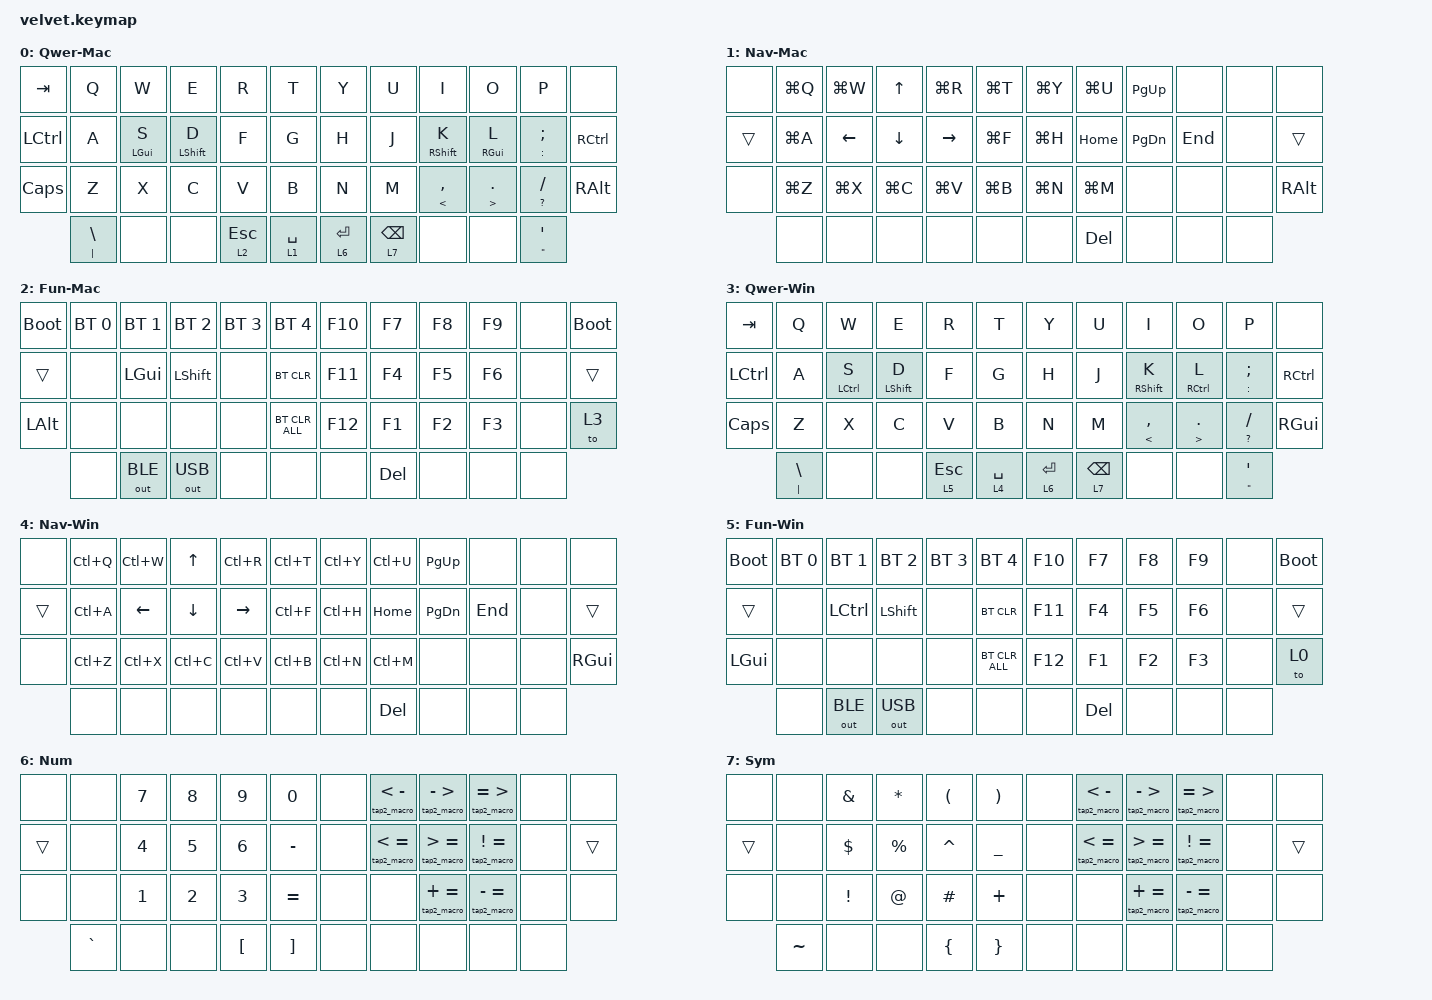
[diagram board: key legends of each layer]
/*
 * Copyright (c) 2020 The ZMK Contributors
 *
 * SPDX-License-Identifier: MIT
 */

#include <behaviors.dtsi>
#include <dt-bindings/zmk/bt.h>
#include <dt-bindings/zmk/keys.h>
#include <dt-bindings/zmk/outputs.h>

/ {
    behaviors {
        as: autoshift {
            compatible = "zmk,behavior-hold-tap";
            label = "AUTOSHIFT";
            bindings = <&kp>, <&kp>;

            #binding-cells = <2>;
            tapping-term-ms = <250>;
            quick-tap-ms = <175>;
            require-prior-idle-ms = <150>;
            flavor = "tap-preferred";
        };

        hml: homerow_mods_left {
            compatible = "zmk,behavior-hold-tap";
            label = "HOMEROW_MODS_LEFT";
            bindings = <&kp>, <&kp>;

            #binding-cells = <2>;
            tapping-term-ms = <250>;
            quick-tap-ms = <175>;
            require-prior-idle-ms = <110>;
            flavor = "balanced";
            hold-trigger-key-positions = <30 18 8 7 32 21 23 44 43 45 41 42 31 19 6 20 9 33 34 22 10 11 35 39 36 40>;
            hold-trigger-on-release;
        };

        hmr: homerow_mods_right {
            compatible = "zmk,behavior-hold-tap";
            label = "HOMEROW_MODS_RIGHT";
            bindings = <&kp>, <&kp>;

            #binding-cells = <2>;
            tapping-term-ms = <250>;
            quick-tap-ms = <175>;
            require-prior-idle-ms = <110>;
            flavor = "balanced";
            hold-trigger-on-release;
            hold-trigger-key-positions = <26 13 24 1 0 12 3 4 2 5 14 15 29 17 16 25 38 37 27 28 39 40 45 36 41 42>;
        };

        mol: mo_left {
            compatible = "zmk,behavior-hold-tap";
            label = "MO_LEFT";
            bindings = <&mo>, <&kp>;

            #binding-cells = <2>;
            tapping-term-ms = <250>;
            quick-tap-ms = <175>;
            require-prior-idle-ms = <110>;
            flavor = "balanced";
            hold-trigger-key-positions = <19 21 41 45 42 30 31 43 32 33 44 34 35 23 22 10 11 9 8 20 7 6 18>;
            hold-trigger-on-release;
        };

        mor: mo_right {
            compatible = "zmk,behavior-hold-tap";
            label = "MO_RIGHT";
            bindings = <&mo>, <&kp>;

            #binding-cells = <2>;
            tapping-term-ms = <250>;
            quick-tap-ms = <175>;
            require-prior-idle-ms = <110>;
            flavor = "balanced";
            hold-trigger-key-positions = <26 13 24 1 0 12 3 4 2 5 14 15 29 17 16 25 38 37 27 28 39 40 36>;
            hold-trigger-on-release;
        };
    };

    macros {
        tap2_macro: tap2_macro {
            compatible = "zmk,behavior-macro-two-param";
            #binding-cells = <2>;
            bindings =
                <&macro_param_1to1>,
                <&macro_tap>,
                <&kp MACRO_PLACEHOLDER &macro_param_2to1>,
                <&macro_tap>,
                <&kp MACRO_PLACEHOLDER>;

            label = "TAP2_MACRO";
        };
    };

    keymap {
        compatible = "zmk,keymap";

        Qwer-Mac {
            bindings = <
&kp TAB           &kp Q               &kp W            &kp E              &kp R       &kp T         &kp Y          &kp U             &kp I                &kp O                 &kp P                           &none
&kp LEFT_CONTROL  &kp A               &hml LEFT_GUI S  &hml LEFT_SHIFT D  &kp F       &kp G         &kp H          &kp J             &hmr RIGHT_SHIFT K   &hmr RIGHT_GUI L      &as COLON SEMI                  &kp RIGHT_CONTROL
&kp CAPSLOCK      &kp Z               &kp X            &kp C              &kp V       &kp B         &kp N          &kp M             &as LESS_THAN COMMA  &as GREATER_THAN DOT  &as QUESTION SLASH              &kp RIGHT_ALT
                  &as PIPE BACKSLASH  &none            &none              &mol 2 ESC  &mor 1 SPACE  &mor 6 RETURN  &mor 7 BACKSPACE  &none                &none                 &as DOUBLE_QUOTES SINGLE_QUOTE
            >;
        };

        Nav-Mac {
            bindings = <
&none   &kp LG(Q)  &kp LG(W)       &kp UP_ARROW    &kp LG(R)        &kp LG(T)  &kp LG(Y)  &kp LG(U)   &kp PAGE_UP    &none    &none  &none
&trans  &kp LG(A)  &kp LEFT_ARROW  &kp DOWN_ARROW  &kp RIGHT_ARROW  &kp LG(F)  &kp LG(H)  &kp HOME    &kp PAGE_DOWN  &kp END  &none  &trans
&none   &kp LG(Z)  &kp LG(X)       &kp LG(C)       &kp LG(V)        &kp LG(B)  &kp LG(N)  &kp LG(M)   &none          &none    &none  &kp RIGHT_ALT
        &none      &none           &none           &none            &none      &none      &kp DELETE  &none          &none    &none
            >;
        };

        Fun-Mac {
            bindings = <
&bootloader   &bt BT_SEL 0  &bt BT_SEL 1  &bt BT_SEL 2    &bt BT_SEL 3  &bt BT_SEL 4    &kp F10  &kp F7      &kp F8  &kp F9  &none  &bootloader
&trans        &none         &kp LEFT_GUI  &kp LEFT_SHIFT  &none         &bt BT_CLR      &kp F11  &kp F4      &kp F5  &kp F6  &none  &trans
&kp LEFT_ALT  &none         &none         &none           &none         &bt BT_CLR_ALL  &kp F12  &kp F1      &kp F2  &kp F3  &none  &to 3
              &none         &out OUT_BLE  &out OUT_USB    &none         &none           &none    &kp DELETE  &none   &none   &none
            >;
        };

        Qwer-Win {
            bindings = <
&kp TAB           &kp Q               &kp W                &kp E              &kp R       &kp T         &kp Y          &kp U             &kp I                &kp O                 &kp P                           &none
&kp LEFT_CONTROL  &kp A               &hml LEFT_CONTROL S  &hml LEFT_SHIFT D  &kp F       &kp G         &kp H          &kp J             &hmr RIGHT_SHIFT K   &hmr RIGHT_CONTROL L  &as COLON SEMI                  &kp RIGHT_CONTROL
&kp CAPSLOCK      &kp Z               &kp X                &kp C              &kp V       &kp B         &kp N          &kp M             &as LESS_THAN COMMA  &as GREATER_THAN DOT  &as QUESTION SLASH              &kp RIGHT_GUI
                  &as PIPE BACKSLASH  &none                &none              &mol 5 ESC  &mor 4 SPACE  &mor 6 RETURN  &mor 7 BACKSPACE  &none                &none                 &as DOUBLE_QUOTES SINGLE_QUOTE
            >;
        };

        Nav-Win {
            bindings = <
&none   &kp LC(Q)  &kp LC(W)       &kp UP_ARROW    &kp LC(R)        &kp LC(T)  &kp LC(Y)  &kp LC(U)   &kp PAGE_UP    &none    &none  &none
&trans  &kp LC(A)  &kp LEFT_ARROW  &kp DOWN_ARROW  &kp RIGHT_ARROW  &kp LC(F)  &kp LC(H)  &kp HOME    &kp PAGE_DOWN  &kp END  &none  &trans
&none   &kp LC(Z)  &kp LC(X)       &kp LC(C)       &kp LC(V)        &kp LC(B)  &kp LC(N)  &kp LC(M)   &none          &none    &none  &kp RIGHT_GUI
        &none      &none           &none           &none            &none      &none      &kp DELETE  &none          &none    &none
            >;
        };

        Fun-Win {
            bindings = <
&bootloader   &bt BT_SEL 0  &bt BT_SEL 1      &bt BT_SEL 2    &bt BT_SEL 3  &bt BT_SEL 4    &kp F10  &kp F7      &kp F8  &kp F9  &none  &bootloader
&trans        &none         &kp LEFT_CONTROL  &kp LEFT_SHIFT  &none         &bt BT_CLR      &kp F11  &kp F4      &kp F5  &kp F6  &none  &trans
&kp LEFT_GUI  &none         &none             &none           &none         &bt BT_CLR_ALL  &kp F12  &kp F1      &kp F2  &kp F3  &none  &to 0
              &none         &out OUT_BLE      &out OUT_USB    &none         &none           &none    &kp DELETE  &none   &none   &none
            >;
        };

        Num {
            bindings = <
&none   &none      &kp N7  &kp N8  &kp N9            &kp N0             &none  &tap2_macro LESS_THAN MINUS  &tap2_macro MINUS GREATER_THAN  &tap2_macro EQUAL GREATER_THAN  &none  &none
&trans  &none      &kp N4  &kp N5  &kp N6            &kp MINUS          &none  &tap2_macro LESS_THAN EQUAL  &tap2_macro GREATER_THAN EQUAL  &tap2_macro EXCL EQUAL          &none  &trans
&none   &none      &kp N1  &kp N2  &kp N3            &kp EQUAL          &none  &none                        &tap2_macro PLUS EQUAL          &tap2_macro MINUS EQUAL         &none  &none
        &kp GRAVE  &none   &none   &kp LEFT_BRACKET  &kp RIGHT_BRACKET  &none  &none                        &none                           &none                           &none
            >;
        };

        Sym {
            bindings = <
&none   &none      &kp AMPERSAND    &kp ASTERISK  &kp LEFT_PARENTHESIS  &kp RIGHT_PARENTHESIS  &none  &tap2_macro LESS_THAN MINUS  &tap2_macro MINUS GREATER_THAN  &tap2_macro EQUAL GREATER_THAN  &none  &none
&trans  &none      &kp DOLLAR       &kp PERCENT   &kp CARET             &kp UNDERSCORE         &none  &tap2_macro LESS_THAN EQUAL  &tap2_macro GREATER_THAN EQUAL  &tap2_macro EXCL EQUAL          &none  &trans
&none   &none      &kp EXCLAMATION  &kp AT        &kp HASH              &kp PLUS               &none  &none                        &tap2_macro PLUS EQUAL          &tap2_macro MINUS EQUAL         &none  &none
        &kp TILDE  &none            &none         &kp LEFT_BRACE        &kp RIGHT_BRACE        &none  &none                        &none                           &none                           &none
            >;
        };
    };
};
